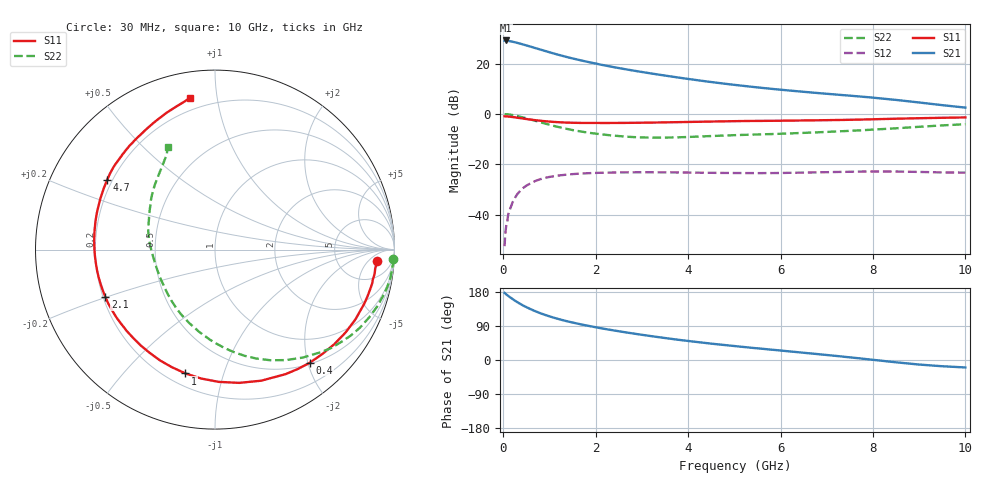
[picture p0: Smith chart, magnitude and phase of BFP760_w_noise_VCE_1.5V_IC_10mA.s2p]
! Infineon Technologies  Discrete & RF Semiconductors
! BFP760
! VCE =  1.5 V,  IC =  10 mA
! Common Emitter S-Parameters:  Nov 2012
# GHz  S  MA  R  50
!  f  S11  S21  S12  S22
! GHz  MAG  ANG  MAG  ANG  MAG  ANG  MAG  ANG
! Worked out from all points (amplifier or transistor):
!   99 points, 30 MHz to 10 GHz, reference 50 ohm
!   highest |S21| = 29.2 dB at 50 MHz (marker M1)
!   |S21| within 3 dB of that: start of sweep to 690.6 MHz
!   unconditionally stable (mu >= 1): 5.496 GHz to end of sweep
!   at 350 MHz: K = 0.12, MSG = 29.4 dB, |S12| = -30.8 dB
!   at 3.5 GHz: K = 0.68, MSG = 19.2 dB, |S12| = -23.1 dB
!   at 10 GHz: K = 1.20, MAG = 10.2 dB, |S12| = -23.2 dB
!   lowest NFmin = 0.48 dB at 900 MHz
!   S11 on the Smith chart (normalised r, x): 30 MHz: 13, -9; 400 MHz: 0.52, -2.04; 1 GHz: 0.27, -0.75; 2.1 GHz: 0.21, -0.20; 4.7 GHz: 0.18, +0.28; 10 GHz: 0.13, +0.84
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0.03  0.9022 -4.1  28.4 177.1  0.0024 87.9  0.9956 -3.0
0.04  0.9021 -5.5  28.45 176.3  0.0037 85.7  0.9958 -4.0
0.05  0.8987 -6.8  28.79 174.6  0.0047 80.3  0.9944 -5.0
0.15  0.8843 -20.0  27.81 165.4  0.0132 79.7  0.974 -14.8
0.25  0.8614 -32.5  26.55 156.9  0.0215 72.2  0.9375 -23.9
0.3  0.8481 -38.5  25.85 153.0  0.0255 68.6  0.9174 -28.3
0.4  0.8226 -50.0  24.43 145.9  0.0323 63.0  0.8701 -36.4
0.45  0.8095 -55.3  23.68 142.5  0.0352 60.3  0.8486 -40.2
0.6  0.7744 -70.6  21.61 133.7  0.0428 52.8  0.7752 -50.9
0.8  0.7371 -88.5  19.06 123.6  0.051 44.6  0.6895 -63.4
1  0.7094 -103.4  16.8 115.2  0.0566 38.1  0.6139 -74.5
1.1  0.6977 -110.2  15.82 111.4  0.0585 35.4  0.5804 -79.6
1.3  0.681 -122.1  14.1 104.7  0.0619 30.6  0.5252 -88.9
1.7  0.6665 -141.5  11.49 93.6  0.0662 23.9  0.4471 -105.3
2.1  0.6654 -156.7  9.588 84.1  0.0685 18.4  0.3987 -120.5
2.7  0.6685 -174.7  7.586 72.0  0.0698 12.7  0.3545 -140.8
3.4  0.6815 168.7  5.98 59.7  0.0699 8.3  0.341 -162.1
4.7  0.7149 147.3  4.094 40.6  0.0681 4.1  0.3725 170.8
5.1  0.7245 142.9  3.704 35.6  0.0677 3.7  0.3841 165.4
6.7  0.7506 128.9  2.661 16.8  0.0696 3.3  0.4305 147.3
8.5  0.8084 109.6  1.906 -6.1  0.0725 -2.0  0.522 126.9
10  0.8576 99.3  1.342 -19.7  0.069 -3.1  0.6294 114.8
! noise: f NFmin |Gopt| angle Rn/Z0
0.9  0.48  0.22  28  0.1
1.8  0.54  0.16  58  0.09
2.4  0.59  0.14  85  0.08
3.5  0.73  0.12  129  0.08
5.5  0.97  0.28  -140  0.08
8  1.38  0.41  -95  0.25
